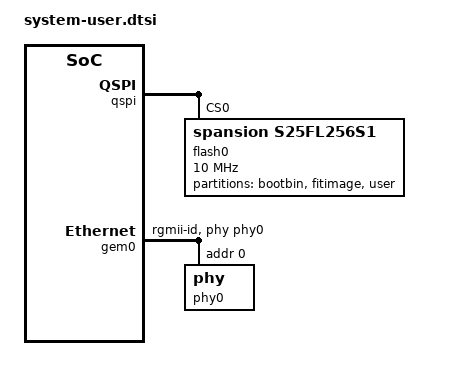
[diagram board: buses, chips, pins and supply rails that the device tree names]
/include/ "system-conf.dtsi"

&amba {
  ptm@f889d000 {
    cpu = <&cpu0>;
  };
};

&qspi {
 #address-cells = <1>;
 #size-cells = <0>;

 flash0: flash@0 {
  compatible = "spansion,s25fl256s1";
  spi-tx-bus-width = <1>;
  spi-rx-bus-width = <4>;
  spi-max-frequency = <10000000>;
  reg = <0x0>;
  #address-cells = <1>;
  #size-cells = <1>;

  partition@0x0{
   label = "bootbin";
   // start: 0          end: 0x6B0000     size: 0x6B0000    (7012352 bytes ~7MB)
   reg = <0x0 0x6B0000>;
  };

  partition@0x6C0000{
   label = "fitimage";
   // start: 0x6C0000   end: 0x1FE0000    size: 0x1920000   (26345472 bytes ~26MB)
   reg = <0x6C0000 0x1920000>;
  };

  // start: 0x1FF0000   end: 0x2000000    size: 0x10000     (65536 bytes 64kB)
  partition@0x1FF0000{
   label = "user";
   reg = <0x1FF0000 0x10000>;
  };
 };
};

&gem0 {
   status = "okay";
   phy-handle = <&phy0>;
   phy-mode = "rgmii-id";
   phy0: phy@0 {
      /*compatible = "marvell,88e1510"; */
      device_type = "ethernet-phy";
      reg = <0x0>;
      /*
       * modify PHY registers to:
       * Reg 3_16
       * LED[1] bits [7:4] = ON=link, BLINK=activity, OFF=no activity
       * LED[0] bits [3:0] = link speed detect (3 blinks= 1Gbps, 2 blinks = 100Mbps, 1 blink = 10Mbps)
       * Reg 3_17
       * LED[1:0] = ON-drive low, OFF-high
       * Reg 3_18
       * LED[0] bits [3:2] = link speed LED blink off period = 170ms
       * LED[0] bits [1:0] = link speed LED blink on period = 340ms
       */
      marvell,reg-init = <3 16 0xff00 0x42>,
               <3 17 0xfff0 0x0>,
               <3 18 0xfff0 0x6>;
   };
};

&RunControl_0 {
   compatible = "generic-uio";
};

/ {
   dma_proxy {
      compatible ="xlnx,dma_proxy";
      dmas = <&axi_dma_0 1>;
      dma-names = "dma_proxy_rx";
   };
};
